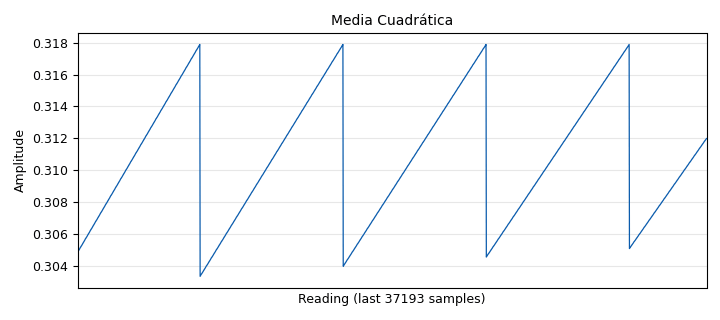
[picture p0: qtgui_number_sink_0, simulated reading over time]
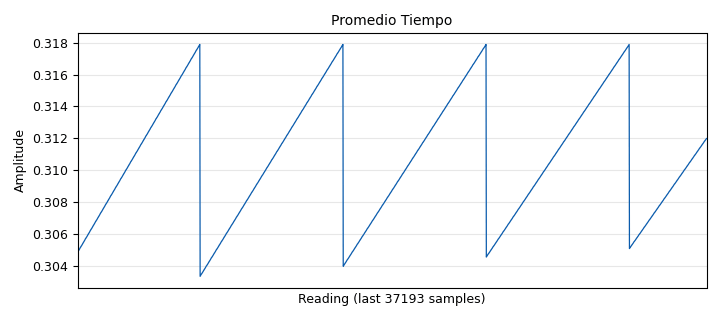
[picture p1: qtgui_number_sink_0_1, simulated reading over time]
options:
  parameters:
    author: Administrador
    generate_options: qt_gui
    id: pryeba
    output_language: python
    title: Not titled yet
  states: {}

blocks:
- name: samp_rate
  id: variable
  parameters:
    value: '32000'
  states: {}
- name: analog_noise_source_x_0
  id: analog_noise_source_x
  parameters:
    amp: '0'
    noise_type: analog.GR_GAUSSIAN
    seed: '0'
    type: float
  states: {}
- name: analog_sig_source_x_0
  id: analog_sig_source_x
  parameters:
    amp: '1'
    freq: '1000'
    offset: '0'
    phase: '0'
    samp_rate: samp_rate
    type: float
    waveform: analog.GR_SAW_WAVE
  states: {}
- name: blocks_add_xx_0
  id: blocks_add_xx
  parameters:
    type: float
  states: {}
- name: blocks_throttle2_0_0_1_0
  id: blocks_throttle2
  parameters:
    samples_per_second: samp_rate
    type: float
  states: {}
- name: epy_block_0
  id: epy_block
  parameters:
    _source_code: |-
      import numpy as np
      from gnuradio import gr

      class blk(gr.sync_block):
          def __init__(self):
              gr.sync_block.__init__(
                  self,
                  name='Promedios_de_tiempos',
                  in_sig=[np.float32],
                  out_sig=[np.float32, np.float32, np.float32, np.float32, np.float32]
              )
              self.acum_anterior = 0
              self.Ntotales = 0
              self.acum_anterior1 = 0
              self.acum_anterior2 = 0

          def work(self, input_items, output_items):
              x = input_items[0]
              y0 = output_items[0]  # Promedio
              y1 = output_items[1]  # Media cuadratica
              y2 = output_items[2]  # RMS
              y3 = output_items[3]  # Potencia promedio
              y4 = output_items[4]  # Desviacion estandar

              N = len(x)
              self.Ntotales = self.Ntotales + N

              # Promedio
              acumulado = self.acum_anterior + np.cumsum(x)
              self.acum_anterior = acumulado[N - 1]
              y0[:] = acumulado / self.Ntotales

              # Media cuadratica
              x2 = np.multiply(x, x)
              acumulado1 = self.acum_anterior1 + np.cumsum(x2)
              self.acum_anterior1 = acumulado1[N - 1]   # corregido
              y1[:] = acumulado1 / self.Ntotales

              # RMS
              y2[:] = np.sqrt(y1)

              # Potencia promedio
              y3[:] = np.multiply(y2, y2)

              # Desviacion estandar
              x3 = np.multiply(x - y0, x - y0)
              acumulado2 = self.acum_anterior2 + np.cumsum(x3)
              self.acum_anterior2 = acumulado2[N - 1]
              y4[:] = np.sqrt(acumulado2 / self.Ntotales)

              return len(x)
  states: {}
- name: qtgui_number_sink_0
  id: qtgui_number_sink
  parameters:
    graph_type: qtgui.NUM_GRAPH_HORIZ
    name: Media Cuadrática
    type: float
  states: {}
- name: qtgui_number_sink_0_1
  id: qtgui_number_sink
  parameters:
    graph_type: qtgui.NUM_GRAPH_HORIZ
    name: Promedio Tiempo
    type: float
  states: {}
- name: qtgui_number_sink_0_2
  id: qtgui_number_sink
  parameters:
    graph_type: qtgui.NUM_GRAPH_HORIZ
    name: Desviación Estándar
    type: float
  states: {}
- name: qtgui_number_sink_0_3
  id: qtgui_number_sink
  parameters:
    graph_type: qtgui.NUM_GRAPH_HORIZ
    name: Media
    type: float
  states: {}
- name: qtgui_number_sink_0_4
  id: qtgui_number_sink
  parameters:
    graph_type: qtgui.NUM_GRAPH_HORIZ
    name: RMS
    type: float
  states: {}

connections:
- [analog_noise_source_x_0, '0', blocks_add_xx_0, '1']
- [analog_sig_source_x_0, '0', blocks_add_xx_0, '0']
- [blocks_add_xx_0, '0', blocks_throttle2_0_0_1_0, '0']
- [blocks_throttle2_0_0_1_0, '0', epy_block_0, '0']
- [epy_block_0, '0', qtgui_number_sink_0_3, '0']
- [epy_block_0, '1', qtgui_number_sink_0, '0']
- [epy_block_0, '2', qtgui_number_sink_0_4, '0']
- [epy_block_0, '3', qtgui_number_sink_0_1, '0']
- [epy_block_0, '4', qtgui_number_sink_0_2, '0']

metadata:
  file_format: 1
  grc_version: 3.10.12.0
